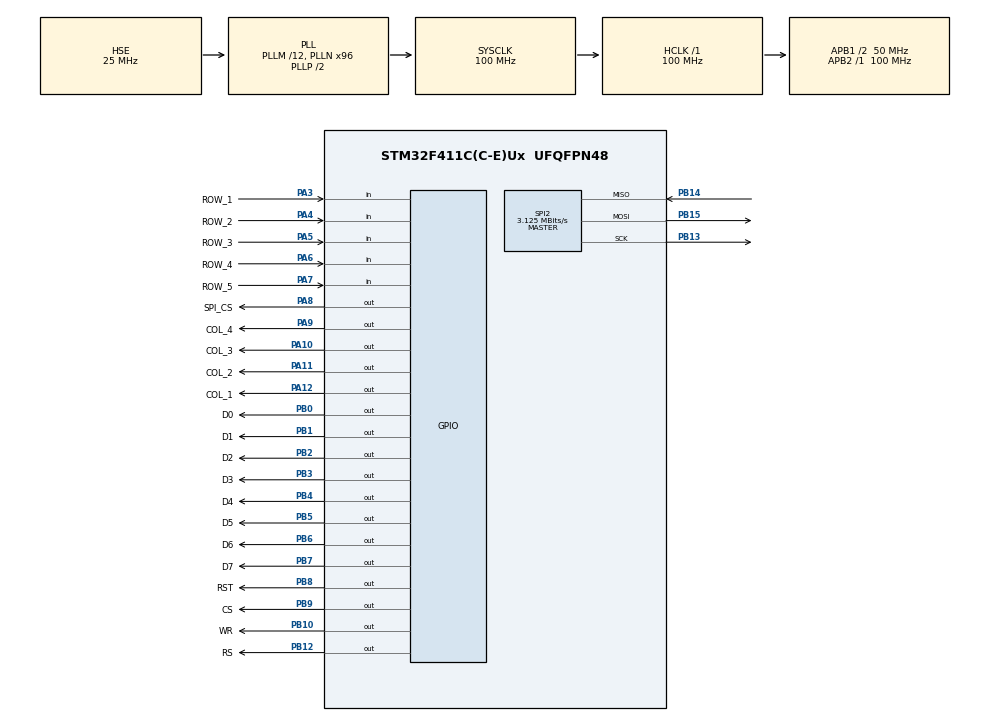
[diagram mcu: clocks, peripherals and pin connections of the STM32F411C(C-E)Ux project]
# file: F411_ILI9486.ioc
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Dma.Request0=SPI2_RX
Dma.Request1=SPI2_TX
Dma.SPI2_RX.0.Direction=DMA_PERIPH_TO_MEMORY
Dma.SPI2_RX.0.FIFOMode=DMA_FIFOMODE_DISABLE
Dma.SPI2_RX.0.Instance=DMA1_Stream3
Dma.SPI2_RX.0.MemDataAlignment=DMA_MDATAALIGN_BYTE
Dma.SPI2_RX.0.MemInc=DMA_MINC_ENABLE
Dma.SPI2_RX.0.Mode=DMA_NORMAL
Dma.SPI2_RX.0.PeriphDataAlignment=DMA_PDATAALIGN_BYTE
Dma.SPI2_RX.0.PeriphInc=DMA_PINC_DISABLE
Dma.SPI2_RX.0.Priority=DMA_PRIORITY_LOW
Dma.SPI2_TX.1.Direction=DMA_MEMORY_TO_PERIPH
Dma.SPI2_TX.1.FIFOMode=DMA_FIFOMODE_DISABLE
Dma.SPI2_TX.1.Instance=DMA1_Stream4
Dma.SPI2_TX.1.MemDataAlignment=DMA_MDATAALIGN_BYTE
Dma.SPI2_TX.1.MemInc=DMA_MINC_ENABLE
Dma.SPI2_TX.1.Mode=DMA_NORMAL
Dma.SPI2_TX.1.PeriphDataAlignment=DMA_PDATAALIGN_BYTE
Dma.SPI2_TX.1.PeriphInc=DMA_PINC_DISABLE
Dma.SPI2_TX.1.Priority=DMA_PRIORITY_LOW
FATFS._MAX_SS=4096
FATFS._USE_LFN=1
Mcu.Family=STM32F4
Mcu.Name=STM32F411C(C-E)Ux
Mcu.Package=UFQFPN48
NVIC.DMA1_Stream3_IRQn=true\:0\:0\:false\:false\:true\:false\:true
NVIC.DMA1_Stream4_IRQn=true\:0\:0\:false\:false\:true\:false\:true
NVIC.PriorityGroup=NVIC_PRIORITYGROUP_4
NVIC.TIM1_UP_TIM10_IRQn=true\:0\:0\:false\:false\:true\:true\:true
PA10.GPIO_Label=COL_3
PA10.Signal=GPIO_Output
PA11.GPIO_Label=COL_2
PA11.Signal=GPIO_Output
PA12.GPIO_Label=COL_1
PA12.Signal=GPIO_Output
PA13.Mode=Serial_Wire
PA13.Signal=SYS_JTMS-SWDIO
PA14.Mode=Serial_Wire
PA14.Signal=SYS_JTCK-SWCLK
PA3.GPIO_Label=ROW_1
PA3.Signal=GPIO_Input
PA4.GPIO_Label=ROW_2
PA4.Signal=GPIO_Input
PA5.GPIO_Label=ROW_3
PA5.Signal=GPIO_Input
PA6.GPIO_Label=ROW_4
PA6.Signal=GPIO_Input
PA7.GPIO_Label=ROW_5
PA7.Signal=GPIO_Input
PA8.GPIO_Label=SPI_CS
PA8.Signal=GPIO_Output
PA9.GPIO_Label=COL_4
PA9.Signal=GPIO_Output
PB0.GPIO_Label=D0
PB0.Signal=GPIO_Output
PB1.GPIO_Label=D1
PB1.Signal=GPIO_Output
PB10.GPIO_Label=WR
PB10.Signal=GPIO_Output
PB12.GPIO_Label=RS
PB12.Signal=GPIO_Output
PB13.Mode=Full_Duplex_Master
PB13.Signal=SPI2_SCK
PB14.Mode=Full_Duplex_Master
PB14.Signal=SPI2_MISO
PB15.Mode=Full_Duplex_Master
PB15.Signal=SPI2_MOSI
PB2.GPIO_Label=D2
PB2.Signal=GPIO_Output
PB3.GPIO_Label=D3
PB3.Signal=GPIO_Output
PB4.GPIO_Label=D4
PB4.Signal=GPIO_Output
PB5.GPIO_Label=D5
PB5.Signal=GPIO_Output
PB6.GPIO_Label=D6
PB6.Signal=GPIO_Output
PB7.GPIO_Label=D7
PB7.Signal=GPIO_Output
PB8.GPIO_Label=RST
PB8.Signal=GPIO_Output
PB9.GPIO_Label=CS
PB9.Signal=GPIO_Output
PC14-OSC32_IN.Mode=LSE-External-Oscillator
PC14-OSC32_IN.Signal=RCC_OSC32_IN
PC15-OSC32_OUT.Mode=LSE-External-Oscillator
PC15-OSC32_OUT.Signal=RCC_OSC32_OUT
PH0\ -\ OSC_IN.Mode=HSE-External-Oscillator
PH0\ -\ OSC_IN.Signal=RCC_OSC_IN
PH1\ -\ OSC_OUT.Mode=HSE-External-Oscillator
PH1\ -\ OSC_OUT.Signal=RCC_OSC_OUT
ProjectManager.HeapSize=0x200
ProjectManager.StackSize=0x400
ProjectManager.TargetToolchain=EWARM V8.32
RCC.48MHZClocksFreq_Value=50000000
RCC.AHBFreq_Value=100000000
RCC.APB1CLKDivider=RCC_HCLK_DIV2
RCC.APB1Freq_Value=50000000
RCC.APB1TimFreq_Value=100000000
RCC.APB2Freq_Value=100000000
RCC.APB2TimFreq_Value=100000000
RCC.CortexFreq_Value=100000000
RCC.EnbaleCSS=true
RCC.HCLKFreq_Value=100000000
RCC.HSE_VALUE=25000000
RCC.HSI_VALUE=16000000
RCC.PLLM=12
RCC.PLLN=96
RCC.PLLSourceVirtual=RCC_PLLSOURCE_HSE
RCC.SYSCLKFreq_VALUE=100000000
RCC.SYSCLKSource=RCC_SYSCLKSOURCE_PLLCLK
RCC.VCOOutputFreq_Value=200000000
SPI2.BaudRatePrescaler=SPI_BAUDRATEPRESCALER_16
SPI2.CalculateBaudRate=3.125 MBits/s
SPI2.Direction=SPI_DIRECTION_2LINES
SPI2.Mode=SPI_MODE_MASTER
SPI2.VirtualType=VM_MASTER
TIM10.Period=100
TIM10.Prescaler=9999
VP_FATFS_VS_Generic.Mode=User_defined
VP_TIM10_VS_ClockSourceINT.Mode=Enable_Timer
board=custom

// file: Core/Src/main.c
/* USER CODE BEGIN Header */
/**
  ******************************************************************************
  * @file           : main.c
  * @brief          : Main program body
  ******************************************************************************
  * @attention
  *
  * <h2><center>&copy; Copyright (c) 2022 STMicroelectronics.
  * All rights reserved.</center></h2>
  *
  * This software component is licensed by ST under Ultimate Liberty license
  * SLA0044, the "License"; You may not use this file except in compliance with
  * the License. You may obtain a copy of the License at:
  *                             www.st.com/SLA0044
  *
  ******************************************************************************
  */
/* USER CODE END Header */
#include "main.h"
#include "fatfs.h"

/* USER CODE BEGIN Includes */
#include "ili9486.h"
#include "fonts.h"
#include "user_diskio_spi.h"
#include <stdio.h>
/* USER CODE END Includes */

SPI_HandleTypeDef hspi2;
DMA_HandleTypeDef hdma_spi2_rx;
DMA_HandleTypeDef hdma_spi2_tx;

TIM_HandleTypeDef htim10;

/* USER CODE BEGIN PV */
uint32_t size = 0;
/* SD Card variables*/
/*End of SD Card variables*/
extern unsigned char is_button;
extern unsigned char button_pressed;
/* USER CODE END PV */

void SystemClock_Config(void);
static void MX_GPIO_Init(void);
static void MX_DMA_Init(void);
static void MX_SPI2_Init(void);
static void MX_TIM10_Init(void);

int main(void)
{

  /* MCU Configuration--------------------------------------------------------*/

  /* Reset of all peripherals, Initializes the Flash interface and the Systick. */
  HAL_Init();

  /* Configure the system clock */
  SystemClock_Config();

  /* Initialize all configured peripherals */
  MX_GPIO_Init();
  MX_DMA_Init();
  MX_SPI2_Init();
  MX_FATFS_Init();
  MX_TIM10_Init();
  /* USER CODE BEGIN 2 */
  HAL_TIM_Base_Start_IT(&htim10);
  ILI9486_Init();
  ILI9486_Fill(0, 0, 479, 319, 255, 0, 0);

  FATFS FatFs; 	//Fatfs handle
  FIL fil; 		//File handle
  FRESULT fres;
  /**
  Modes for SD card FatFS:
  FA_READ
  FA_WRITE
  FA_OPEN_EXISTING
  FA_CREATE_NEW
  FA_CREATE_ALWAYS
  FA_OPEN_ALWAYS
  FA_OPEN_APPEND

  You can read more about that modes in http://microsin.net/programming/file-systems/fatfs-open.html
  **/
  fres = f_mount(&FatFs, "", 1); //Mount SD card file system
  if (fres != FR_OK)
  {
    ILI9486_WriteText(50, 50, "Can't mount SD card!!!", Times_New_Roman16x16, 16, 0xFFFF, (3<<6));
    HAL_Delay(500);
  }
  fres = f_open(&fil, "1.txt", FA_OPEN_ALWAYS|FA_WRITE);        //Init SD card and open file "1.txt" in RW mode
  if (fres != FR_OK)
  {
    ILI9486_WriteTestText(50,50, "Can't open file!!!",  (unsigned char*)&Font, 0xFFFF, (3<<6));
    HAL_Delay(500);
  }
  //fres = f_lseek(&fil, 0);
  uint32_t bytes = 0;
  fres = f_write(&fil, "It's test data, ignore that.", 28, (UINT*)bytes);
  f_sync(&fil);
  if (fres != FR_OK)
  {
    ILI9486_WriteTestText(50,50, "Can't write file!!!",  (unsigned char*)&Font, 0xFFFF, (3<<6));
    HAL_Delay(500);
  }
  f_close(&fil);
  f_mount(NULL, "", 0);
  HAL_Delay(500);
  f_mount(&FatFs, "", 1);
  f_open(&fil, "1.txt", FA_OPEN_ALWAYS|FA_READ);
  BYTE ReadBuff[100];   //Buffer for info from file
  TCHAR* rres = f_gets((TCHAR*)ReadBuff, 30, &fil);     //Reading info in buffer
  if (rres == 0)
  {
    ILI9486_WriteTestText(50,50, "Can't read file!!!",  (unsigned char*)&Font, 0xFFFF, (3<<6));
    HAL_Delay(500);
  }
  f_close(&fil);        //Close file. WARNING! Do not forget about this, if you don't close it, you will have an error in f_open!
  f_mount(NULL, "", 0); //Unmounting drive, needed for have opportunity to have an operation in SD card in other places in program
  ILI9486_Fill(0, 0, 479, 319, 255, 0, 0);
  uint8_t ilibuff[] = {0};
  sprintf((char*)ilibuff, (char const*)ReadBuff);
  ILI9486_WriteTestText(16,50, (char*)ilibuff, (unsigned char*)&Font, 0xFFFF, (3<<6));
  HAL_Delay(5000);      //Debug point, you can delete this
  /* USER CODE END 2 */

  /* Infinite loop */
  /* USER CODE BEGIN WHILE */
  while (1)
  {
    //New value don't clear old, you can fix it or use it, for you want
    if (is_button != 0x00)      //is_button takes the value of pressed button from stm32f4xx_it.c file
    {
      if (is_button == 'F')
      {
        /**if (is_button_prev != is_button)
        {
          ILI9486_Fill(200, 200, 216, 232, 255, 0, 0); // If you want to clear write area, use this construction
          is_button_prev = is_button;
        }**/
        ILI9486_WriteTestText(200,200,"F1", (unsigned char*)&Font, 0xFFFF, (3<<0x06));
      }
      else if (is_button == 'G')
      {
        ILI9486_WriteTestText(200,200,"F2", (unsigned char*)&Font, 0xFFFF, (3<<0x06));
      }
      else if (is_button == 'v')
      {
        ILI9486_WriteTestText(200,200,"V", (unsigned char*)&Font, 0xFFFF, (3<<0x06));
      }
      else
      {
        ILI9486_WriteTestText(200,200, (char*)&is_button, (unsigned char*)&Font, 0xFFFF, (3<<0x06));
      }
    }
    //Display test's
    /**
    Display have next methods:
    void ILI9486_Fill(unsigned short xk1, unsigned short yk1, unsigned short xk2, unsigned short yk2, unsigned char r1, unsigned char g1, unsigned char b1)
    Filling area in x, y, j, z coords selected from RGB table colour (may worked is't correct, because that's func writes for 16-bit mode)

    void ILI9486_SetWindow(unsigned short x, unsigned short y, unsigned short x1, unsigned short y1)
    Setting window for any operations, updating from left to right, upper to down

    void ILI9486_Init()
    Initialisation display, you can seen more in https://datasheetspdf.com/pdf-down/I/L/I/ILI9486-ILITEK.pdf

    void ILI9486_WriteTestText(uint16_t ix, uint16_t iy, char* iString, unsigned char* font, unsigned short font_color, unsigned short back_color)
    Writting text from x, y coords, from string, for selected font (font's in fonts.h), font size is constant from fonts.h, you must write it for evryone font, font color set's in HEX, from 0x00 to 0xFF, back color too.

    void ILI9486_DrawPixel(unsigned int x, unsigned int y, unsigned char R, unsigned char G, unsigned char B)
    Drawing pixel selected color, for you function's

    void ILI9486_DrawThickLine(unsigned short aXStart, unsigned short aYStart, unsigned short aXEnd, unsigned short aYEnd, unsigned char aThickness, unsigned char aThicknessMode, unsigned char R, unsigned char G, unsigned char B)
    Drawing thickness line, you can draw simple line if aThickness = 1, aThickness can't be < 1, a tThicknessMode is drawing mode, standard is LINE_THICKNESS_MIDDLE, you can use other modes from ili9486.h

    void ILI9486_DrawRect(unsigned int x, unsigned int y, unsigned int w, unsigned int h, unsigned char R, unsigned char G, unsigned char B, unsigned short thickness)
    Drawing rectangle, have bug with thickness, I recommended use this with thickness = 1, because if thickness > 1, displays not filled corner's

    void ILI9486_DrawCircle(unsigned int xc, unsigned int yc, unsigned int r, unsigned char R, unsigned char G, unsigned char B)
    Not tested function for drawing circle, maybe, worked, maybe, not, need testing.
    **/
    //ILI9486_DrawTestChar(200, 300, 'E', 0xFFFF, 0x0000);
    ILI9486_WriteTestText(50, 50, "������", (unsigned char*)&Font, 0xFFFF, (3<<6));
    ILI9486_DrawCircle(50, 50, 20, 0, 255, 0);
    ILI9486_DrawThickLine(50, 100, 1, 2, 5, LINE_THICKNESS_MIDDLE, 255, 255, 255);
    /**
    Font's may be generated with errors, use GLCD Font Creator for create new font's (instruction on http://we.easyelectronics.ru/lcd_gfx/shrifty-s-glcd-font-creator-na-kolenke.html)
    **/
    ILI9486_WriteTestText(15,50,"������������������������������", (unsigned char*)&Font, 0xFFFF, (3<<0x06));
    //ILI9486_WriteText(5,15,"���", Verdana14x14rus, 14, 0xFFFF, (3<<0x06));
    ILI9486_WriteTestText(15,82,"ABCDEFGHIJKLMNOPQRSTUVWXYZabcdefghijklmnopqrstuvwxyz", (unsigned char*)&Font, 0xFFFF, (3<<0x06));
    for (uint16_t x = 0; x < 465; x++)
    {
      ILI9486_WriteTestText(x, 305, "�", (unsigned char*)&Font, 0xFFFF, (31<<0x0B));
    }
    for (uint8_t i = 0; i < 255; i++)
    {
      ILI9486_Fill((HEIGHT/2)-25, (WIDTH/2)-25, (HEIGHT/2)+25, (WIDTH/2)+25, i, 0, 0);
    }
    for (uint8_t i = 0; i < 255; i++)
    {
      ILI9486_Fill((HEIGHT/2)-25, (WIDTH/2)-25, (HEIGHT/2)+25, (WIDTH/2)+25, 0, i, 0);
    }
    for (uint8_t i = 0; i < 255; i++)
    {
      ILI9486_Fill(459, 0, 470, 319, 0, 0, i);
    }
    ILI9486_DrawRect(50, 50, 100, 100, 0, 0, 255, 3);
    HAL_Delay(500);
    /* USER CODE END WHILE */

  }
}

void SystemClock_Config(void)
{
  RCC_OscInitTypeDef RCC_OscInitStruct = {0};
  RCC_ClkInitTypeDef RCC_ClkInitStruct = {0};

  /** Configure the main internal regulator output voltage
  */
  __HAL_RCC_PWR_CLK_ENABLE();
  __HAL_PWR_VOLTAGESCALING_CONFIG(PWR_REGULATOR_VOLTAGE_SCALE1);
  /** Initializes the RCC Oscillators according to the specified parameters
  * in the RCC_OscInitTypeDef structure.
  */
  RCC_OscInitStruct.OscillatorType = RCC_OSCILLATORTYPE_HSE;
  RCC_OscInitStruct.HSEState = RCC_HSE_ON;
  RCC_OscInitStruct.PLL.PLLState = RCC_PLL_ON;
  RCC_OscInitStruct.PLL.PLLSource = RCC_PLLSOURCE_HSE;
  RCC_OscInitStruct.PLL.PLLM = 12;
  RCC_OscInitStruct.PLL.PLLN = 96;
  RCC_OscInitStruct.PLL.PLLP = RCC_PLLP_DIV2;
  RCC_OscInitStruct.PLL.PLLQ = 4;
  if (HAL_RCC_OscConfig(&RCC_OscInitStruct) != HAL_OK)
  {
    Error_Handler();
  }
  /** Initializes the CPU, AHB and APB buses clocks
  */
  RCC_ClkInitStruct.ClockType = RCC_CLOCKTYPE_HCLK|RCC_CLOCKTYPE_SYSCLK
                              |RCC_CLOCKTYPE_PCLK1|RCC_CLOCKTYPE_PCLK2;
  RCC_ClkInitStruct.SYSCLKSource = RCC_SYSCLKSOURCE_PLLCLK;
  RCC_ClkInitStruct.AHBCLKDivider = RCC_SYSCLK_DIV1;
  RCC_ClkInitStruct.APB1CLKDivider = RCC_HCLK_DIV2;
  RCC_ClkInitStruct.APB2CLKDivider = RCC_HCLK_DIV1;

  if (HAL_RCC_ClockConfig(&RCC_ClkInitStruct, FLASH_LATENCY_3) != HAL_OK)
  {
    Error_Handler();
  }
  /** Enables the Clock Security System
  */
  HAL_RCC_EnableCSS();
}

static void MX_SPI2_Init(void)
{

  /* SPI2 parameter configuration*/
  hspi2.Instance = SPI2;
  hspi2.Init.Mode = SPI_MODE_MASTER;
  hspi2.Init.Direction = SPI_DIRECTION_2LINES;
  hspi2.Init.DataSize = SPI_DATASIZE_8BIT;
  hspi2.Init.CLKPolarity = SPI_POLARITY_LOW;
  hspi2.Init.CLKPhase = SPI_PHASE_1EDGE;
  hspi2.Init.NSS = SPI_NSS_SOFT;
  hspi2.Init.BaudRatePrescaler = SPI_BAUDRATEPRESCALER_16;
  hspi2.Init.FirstBit = SPI_FIRSTBIT_MSB;
  hspi2.Init.TIMode = SPI_TIMODE_DISABLE;
  hspi2.Init.CRCCalculation = SPI_CRCCALCULATION_DISABLE;
  hspi2.Init.CRCPolynomial = 10;
  if (HAL_SPI_Init(&hspi2) != HAL_OK)
  {
    Error_Handler();
  }

}

static void MX_TIM10_Init(void)
{

  htim10.Instance = TIM10;
  htim10.Init.Prescaler = 9999;
  htim10.Init.CounterMode = TIM_COUNTERMODE_UP;
  htim10.Init.Period = 100;
  htim10.Init.ClockDivision = TIM_CLOCKDIVISION_DIV1;
  htim10.Init.AutoReloadPreload = TIM_AUTORELOAD_PRELOAD_DISABLE;
  if (HAL_TIM_Base_Init(&htim10) != HAL_OK)
  {
    Error_Handler();
  }

}

static void MX_DMA_Init(void)
{

  /* DMA controller clock enable */
  __HAL_RCC_DMA1_CLK_ENABLE();

  /* DMA interrupt init */
  /* DMA1_Stream3_IRQn interrupt configuration */
  HAL_NVIC_SetPriority(DMA1_Stream3_IRQn, 0, 0);
  HAL_NVIC_EnableIRQ(DMA1_Stream3_IRQn);
  /* DMA1_Stream4_IRQn interrupt configuration */
  HAL_NVIC_SetPriority(DMA1_Stream4_IRQn, 0, 0);
  HAL_NVIC_EnableIRQ(DMA1_Stream4_IRQn);

}

static void MX_GPIO_Init(void)
{
  GPIO_InitTypeDef GPIO_InitStruct = {0};

  /* GPIO Ports Clock Enable */
  __HAL_RCC_GPIOC_CLK_ENABLE();
  __HAL_RCC_GPIOH_CLK_ENABLE();
  __HAL_RCC_GPIOA_CLK_ENABLE();
  __HAL_RCC_GPIOB_CLK_ENABLE();

  /*Configure GPIO pin Output Level */
  HAL_GPIO_WritePin(GPIOB, D0_Pin|D1_Pin|D2_Pin|WR_Pin
                          |RS_Pin|D3_Pin|D4_Pin|D5_Pin
                          |D6_Pin|D7_Pin|RST_Pin|CS_Pin, GPIO_PIN_RESET);

  /*Configure GPIO pin Output Level */
  HAL_GPIO_WritePin(GPIOA, SPI_CS_Pin|COL_4_Pin|COL_3_Pin|COL_2_Pin
                          |COL_1_Pin, GPIO_PIN_RESET);

  /*Configure GPIO pins : ROW_1_Pin ROW_2_Pin ROW_3_Pin ROW_4_Pin
                           ROW_5_Pin */
  GPIO_InitStruct.Pin = ROW_1_Pin|ROW_2_Pin|ROW_3_Pin|ROW_4_Pin
                          |ROW_5_Pin;
  GPIO_InitStruct.Mode = GPIO_MODE_INPUT;
  GPIO_InitStruct.Pull = GPIO_PULLDOWN;
  HAL_GPIO_Init(GPIOA, &GPIO_InitStruct);

  /*Configure GPIO pins : D0_Pin D1_Pin D2_Pin WR_Pin
                           RS_Pin D3_Pin D4_Pin D5_Pin
                           D6_Pin D7_Pin RST_Pin CS_Pin */
  GPIO_InitStruct.Pin = D0_Pin|D1_Pin|D2_Pin|WR_Pin
                          |RS_Pin|D3_Pin|D4_Pin|D5_Pin
                          |D6_Pin|D7_Pin|RST_Pin|CS_Pin;
  GPIO_InitStruct.Mode = GPIO_MODE_OUTPUT_PP;
  GPIO_InitStruct.Pull = GPIO_NOPULL;
  GPIO_InitStruct.Speed = GPIO_SPEED_FREQ_LOW;
  HAL_GPIO_Init(GPIOB, &GPIO_InitStruct);

  /*Configure GPIO pins : SPI_CS_Pin COL_4_Pin COL_3_Pin COL_2_Pin
                           COL_1_Pin */
  GPIO_InitStruct.Pin = SPI_CS_Pin|COL_4_Pin|COL_3_Pin|COL_2_Pin
                          |COL_1_Pin;
  GPIO_InitStruct.Mode = GPIO_MODE_OUTPUT_PP;
  GPIO_InitStruct.Pull = GPIO_NOPULL;
  GPIO_InitStruct.Speed = GPIO_SPEED_FREQ_LOW;
  HAL_GPIO_Init(GPIOA, &GPIO_InitStruct);

}

void Error_Handler(void)
{
  __disable_irq();
  while (1)
  {
  }
}

/************************ (C) COPYRIGHT STMicroelectronics *****END OF FILE****/
